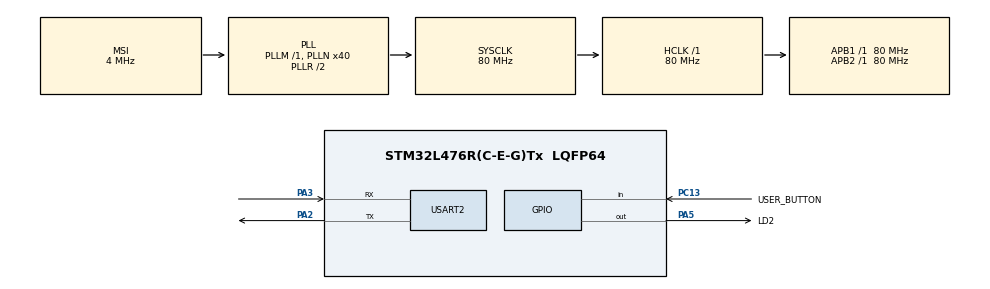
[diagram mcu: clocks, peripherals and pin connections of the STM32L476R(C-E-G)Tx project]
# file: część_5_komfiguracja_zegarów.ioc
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IWDG.Prescaler=IWDG_PRESCALER_32
Mcu.Family=STM32L4
Mcu.Name=STM32L476R(C-E-G)Tx
Mcu.Package=LQFP64
NVIC.PriorityGroup=NVIC_PRIORITYGROUP_4
PA13\ (JTMS-SWDIO).Mode=Serial_Wire
PA13\ (JTMS-SWDIO).Signal=SYS_JTMS-SWDIO
PA14\ (JTCK-SWCLK).Mode=Serial_Wire
PA14\ (JTCK-SWCLK).Signal=SYS_JTCK-SWCLK
PA2.Mode=Asynchronous
PA2.Signal=USART2_TX
PA3.Mode=Asynchronous
PA3.Signal=USART2_RX
PA5.GPIO_Label=LD2
PA5.Signal=GPIO_Output
PC13.GPIO_Label=USER_BUTTON
PC13.Signal=GPIO_Input
PC14-OSC32_IN\ (PC14).Mode=LSE-External-Oscillator
PC14-OSC32_IN\ (PC14).Signal=RCC_OSC32_IN
PC15-OSC32_OUT\ (PC15).Mode=LSE-External-Oscillator
PC15-OSC32_OUT\ (PC15).Signal=RCC_OSC32_OUT
ProjectManager.HeapSize=0x200
ProjectManager.StackSize=0x400
ProjectManager.TargetToolchain=STM32CubeIDE
RCC.AHBFreq_Value=80000000
RCC.APB1Freq_Value=80000000
RCC.APB1TimFreq_Value=80000000
RCC.APB2Freq_Value=80000000
RCC.APB2TimFreq_Value=80000000
RCC.CortexFreq_Value=80000000
RCC.HCLKFreq_Value=80000000
RCC.HSE_VALUE=8000000
RCC.HSI_VALUE=16000000
RCC.LSE_Drive_CapabilityArg=+LSE_Drive_Capability
RCC.MSIAutoCalibration=DISABLED
RCC.MSI_VALUE=4000000
RCC.PLLN=40
RCC.RTCClockSelection=RCC_RTCCLKSOURCE_LSE
RCC.SYSCLKFreq_VALUE=80000000
RCC.SYSCLKSource=RCC_SYSCLKSOURCE_PLLCLK
RCC.VCOOutputFreq_Value=160000000
USART2.OverrunDisableParam=ADVFEATURE_OVERRUN_DISABLE
USART2.VirtualMode-Asynchronous=VM_ASYNC
VP_IWDG_VS_IWDG.Mode=IWDG_Activate
VP_RTC_VS_RTC_Activate.Mode=RTC_Enabled
board=custom

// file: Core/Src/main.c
/* USER CODE BEGIN Header */
/**
  ******************************************************************************
  * @file           : main.c
  * @brief          : Main program body
  ******************************************************************************
  * @attention
  *
  * Copyright (c) 2026 STMicroelectronics.
  * All rights reserved.
  *
  * This software is licensed under terms that can be found in the LICENSE file
  * in the root directory of this software component.
  * If no LICENSE file comes with this software, it is provided AS-IS.
  *
  ******************************************************************************
  */
/* USER CODE END Header */
#include "main.h"
#include "stdio.h"
#include "string.h"
#include "stdbool.h"

IWDG_HandleTypeDef hiwdg;

RTC_HandleTypeDef hrtc;

UART_HandleTypeDef huart2;

void SystemClock_Config(void);
static void MX_GPIO_Init(void);
static void MX_RTC_Init(void);
static void MX_USART2_UART_Init(void);
static void MX_IWDG_Init(void);

int main(void)
{

  /* MCU Configuration--------------------------------------------------------*/

  /* Reset of all peripherals, Initializes the Flash interface and the Systick. */
  HAL_Init();

  /* Configure the system clock */
  SystemClock_Config();

  /* Initialize all configured peripherals */
  MX_GPIO_Init();
  MX_RTC_Init();
  MX_USART2_UART_Init();
  MX_IWDG_Init();
  /* USER CODE BEGIN 2 */
  int i;
  for (i = 0; i < 10; i++) {
    HAL_GPIO_TogglePin(LD2_GPIO_Port, LD2_Pin);
    HAL_Delay(100);
  }
  /* USER CODE END 2 */

  /* Infinite loop */
  /* USER CODE BEGIN WHILE */
  int __io_putchar(int ch)
  {
      if (ch == '\n') {
          uint8_t ch2 = '\r';
          HAL_UART_Transmit(&huart2, &ch2, 1, HAL_MAX_DELAY);
      }
      HAL_UART_Transmit(&huart2, (uint8_t*)&ch, 1, HAL_MAX_DELAY);
      return 1;
  }
  bool is_button_pressed(void)
  {
    if (HAL_GPIO_ReadPin(USER_BUTTON_GPIO_Port, USER_BUTTON_Pin) == GPIO_PIN_RESET) {
      return true;
    } else {
      return false;
    }
  }
  for (i = 0; i < 10; i++) {
    HAL_GPIO_TogglePin(LD2_GPIO_Port, LD2_Pin);
    HAL_Delay(100);
  }
  uint32_t last_ms = HAL_GetTick();
  while (1)
  {
    /* USER CODE END WHILE */
	  uint32_t now = HAL_GetTick();
	  	  if (is_button_pressed()) {
	  		  while (1) ;
	  	  }
	  	  if (now - last_ms >= 50) {
	  		  HAL_GPIO_TogglePin(LD2_GPIO_Port, LD2_Pin);
	  		  last_ms = now;
	  		  HAL_IWDG_Refresh(&hiwdg);
	  	  }
  }
}

void SystemClock_Config(void)
{
  RCC_OscInitTypeDef RCC_OscInitStruct = {0};
  RCC_ClkInitTypeDef RCC_ClkInitStruct = {0};

  /** Configure the main internal regulator output voltage
  */
  if (HAL_PWREx_ControlVoltageScaling(PWR_REGULATOR_VOLTAGE_SCALE1) != HAL_OK)
  {
    Error_Handler();
  }

  /** Configure LSE Drive Capability
  */
  HAL_PWR_EnableBkUpAccess();
  __HAL_RCC_LSEDRIVE_CONFIG(RCC_LSEDRIVE_LOW);

  /** Initializes the RCC Oscillators according to the specified parameters
  * in the RCC_OscInitTypeDef structure.
  */
  RCC_OscInitStruct.OscillatorType = RCC_OSCILLATORTYPE_LSI|RCC_OSCILLATORTYPE_LSE
                              |RCC_OSCILLATORTYPE_MSI;
  RCC_OscInitStruct.LSEState = RCC_LSE_ON;
  RCC_OscInitStruct.LSIState = RCC_LSI_ON;
  RCC_OscInitStruct.MSIState = RCC_MSI_ON;
  RCC_OscInitStruct.MSICalibrationValue = 0;
  RCC_OscInitStruct.MSIClockRange = RCC_MSIRANGE_6;
  RCC_OscInitStruct.PLL.PLLState = RCC_PLL_ON;
  RCC_OscInitStruct.PLL.PLLSource = RCC_PLLSOURCE_MSI;
  RCC_OscInitStruct.PLL.PLLM = 1;
  RCC_OscInitStruct.PLL.PLLN = 40;
  RCC_OscInitStruct.PLL.PLLP = RCC_PLLP_DIV7;
  RCC_OscInitStruct.PLL.PLLQ = RCC_PLLQ_DIV2;
  RCC_OscInitStruct.PLL.PLLR = RCC_PLLR_DIV2;
  if (HAL_RCC_OscConfig(&RCC_OscInitStruct) != HAL_OK)
  {
    Error_Handler();
  }

  /** Initializes the CPU, AHB and APB buses clocks
  */
  RCC_ClkInitStruct.ClockType = RCC_CLOCKTYPE_HCLK|RCC_CLOCKTYPE_SYSCLK
                              |RCC_CLOCKTYPE_PCLK1|RCC_CLOCKTYPE_PCLK2;
  RCC_ClkInitStruct.SYSCLKSource = RCC_SYSCLKSOURCE_PLLCLK;
  RCC_ClkInitStruct.AHBCLKDivider = RCC_SYSCLK_DIV1;
  RCC_ClkInitStruct.APB1CLKDivider = RCC_HCLK_DIV1;
  RCC_ClkInitStruct.APB2CLKDivider = RCC_HCLK_DIV1;

  if (HAL_RCC_ClockConfig(&RCC_ClkInitStruct, FLASH_LATENCY_4) != HAL_OK)
  {
    Error_Handler();
  }
}

static void MX_IWDG_Init(void)
{

  hiwdg.Instance = IWDG;
  hiwdg.Init.Prescaler = IWDG_PRESCALER_32;
  hiwdg.Init.Window = 4095;
  hiwdg.Init.Reload = 4095;
  if (HAL_IWDG_Init(&hiwdg) != HAL_OK)
  {
    Error_Handler();
  }

}

static void MX_RTC_Init(void)
{

  /** Initialize RTC Only
  */
  hrtc.Instance = RTC;
  hrtc.Init.HourFormat = RTC_HOURFORMAT_24;
  hrtc.Init.AsynchPrediv = 127;
  hrtc.Init.SynchPrediv = 255;
  hrtc.Init.OutPut = RTC_OUTPUT_DISABLE;
  hrtc.Init.OutPutRemap = RTC_OUTPUT_REMAP_NONE;
  hrtc.Init.OutPutPolarity = RTC_OUTPUT_POLARITY_HIGH;
  hrtc.Init.OutPutType = RTC_OUTPUT_TYPE_OPENDRAIN;
  if (HAL_RTC_Init(&hrtc) != HAL_OK)
  {
    Error_Handler();
  }

}

static void MX_USART2_UART_Init(void)
{

  huart2.Instance = USART2;
  huart2.Init.BaudRate = 115200;
  huart2.Init.WordLength = UART_WORDLENGTH_8B;
  huart2.Init.StopBits = UART_STOPBITS_1;
  huart2.Init.Parity = UART_PARITY_NONE;
  huart2.Init.Mode = UART_MODE_TX_RX;
  huart2.Init.HwFlowCtl = UART_HWCONTROL_NONE;
  huart2.Init.OverSampling = UART_OVERSAMPLING_16;
  huart2.Init.OneBitSampling = UART_ONE_BIT_SAMPLE_DISABLE;
  huart2.AdvancedInit.AdvFeatureInit = UART_ADVFEATURE_RXOVERRUNDISABLE_INIT;
  huart2.AdvancedInit.OverrunDisable = UART_ADVFEATURE_OVERRUN_DISABLE;
  if (HAL_UART_Init(&huart2) != HAL_OK)
  {
    Error_Handler();
  }

}

static void MX_GPIO_Init(void)
{
  GPIO_InitTypeDef GPIO_InitStruct = {0};

  /* GPIO Ports Clock Enable */
  __HAL_RCC_GPIOC_CLK_ENABLE();
  __HAL_RCC_GPIOA_CLK_ENABLE();

  /*Configure GPIO pin Output Level */
  HAL_GPIO_WritePin(LD2_GPIO_Port, LD2_Pin, GPIO_PIN_RESET);

  /*Configure GPIO pin : USER_BUTTON_Pin */
  GPIO_InitStruct.Pin = USER_BUTTON_Pin;
  GPIO_InitStruct.Mode = GPIO_MODE_INPUT;
  GPIO_InitStruct.Pull = GPIO_NOPULL;
  HAL_GPIO_Init(USER_BUTTON_GPIO_Port, &GPIO_InitStruct);

  /*Configure GPIO pin : LD2_Pin */
  GPIO_InitStruct.Pin = LD2_Pin;
  GPIO_InitStruct.Mode = GPIO_MODE_OUTPUT_PP;
  GPIO_InitStruct.Pull = GPIO_NOPULL;
  GPIO_InitStruct.Speed = GPIO_SPEED_FREQ_LOW;
  HAL_GPIO_Init(LD2_GPIO_Port, &GPIO_InitStruct);

}

void Error_Handler(void)
{
  __disable_irq();
  while (1)
  {
  }
}
